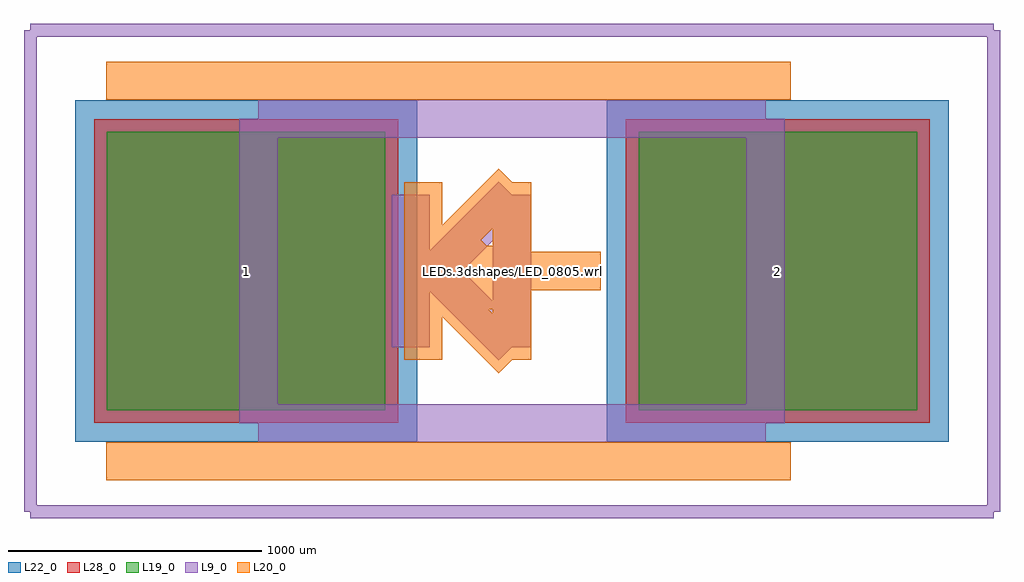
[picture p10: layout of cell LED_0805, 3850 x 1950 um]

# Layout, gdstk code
import gdstk
lib = gdstk.Library(unit=1e-6, precision=1e-09)
def R(c, l, rs):  # rectangles x0, y0, x1, y1
    for r in rs: c.add(gdstk.rectangle(r[:2], r[2:], *l))
L9_0 = (9, 0)
L19_0 = (19, 0)
L20_0 = (20, 0)
L22_0 = (22, 0)
L28_0 = (28, 0)

led_0805 = lib.new_cell('LED_0805')
R(led_0805, L19_0, [(-1598.46,-549.44,-499.58,549.44), (499.58,-549.44,1598.46,549.44)])
R(led_0805, L22_0, [(-1723.46,-674.44,-374.58,674.44), (374.58,-674.44,1723.46,674.44)])
R(led_0805, L28_0, [(-1648.46,-599.44,-449.58,599.44), (449.58,-599.44,1648.46,599.44)])
led_0805.add(gdstk.FlexPath([(-1900,950),(1900,950)], 50, ends="flush", simple_path=True, layer=9, datatype=0))  # L9_0
led_0805.add(gdstk.FlexPath([(-1900,-950),(-1900,950)], 50, ends="flush", simple_path=True, layer=9, datatype=0))  # L9_0
led_0805.add(gdstk.FlexPath([(1900,-950),(-1900,-950)], 50, ends="flush", simple_path=True, layer=9, datatype=0))  # L9_0
led_0805.add(gdstk.FlexPath([(1900,950),(1900,-950)], 50, ends="flush", simple_path=True, layer=9, datatype=0))  # L9_0
led_0805.add(gdstk.FlexPath([(0,-350),(-350,0)], 149.998, ends="flush", simple_path=True, layer=20, datatype=0))  # L20_0
led_0805.add(gdstk.FlexPath([(0,350),(0,-350)], 149.998, ends="flush", simple_path=True, layer=20, datatype=0))  # L20_0
led_0805.add(gdstk.FlexPath([(-350,0),(0,350)], 149.998, ends="flush", simple_path=True, layer=20, datatype=0))  # L20_0
led_0805.add(gdstk.FlexPath([(0,0),(350,0)], 149.998, ends="flush", simple_path=True, layer=20, datatype=0))  # L20_0
led_0805.add(gdstk.FlexPath([(-350,350),(-350,-350)], 149.998, ends="flush", simple_path=True, layer=20, datatype=0))  # L20_0
led_0805.add(gdstk.FlexPath([(-100,100),(-250,-50)], 149.998, ends="flush", simple_path=True, layer=20, datatype=0))  # L20_0
led_0805.add(gdstk.FlexPath([(-100,-150),(-100,100)], 149.998, ends="flush", simple_path=True, layer=20, datatype=0))  # L20_0
led_0805.add(gdstk.FlexPath([(-1600,750),(1100,750)], 149.998, ends="flush", simple_path=True, layer=20, datatype=0))  # L20_0
led_0805.add(gdstk.FlexPath([(-1600,-750),(1100,-750)], 149.998, ends="flush", simple_path=True, layer=20, datatype=0))  # L20_0
led_0805.add(gdstk.FlexPath([(-1000,600),(-1000,-600)], 149.998, ends="flush", simple_path=True, layer=9, datatype=0))  # L9_0
led_0805.add(gdstk.FlexPath([(-1000,-600),(1000,-600)], 149.998, ends="flush", simple_path=True, layer=9, datatype=0))  # L9_0
led_0805.add(gdstk.FlexPath([(1000,-600),(1000,600)], 149.998, ends="flush", simple_path=True, layer=9, datatype=0))  # L9_0
led_0805.add(gdstk.FlexPath([(1000,600),(-1000,600)], 149.998, ends="flush", simple_path=True, layer=9, datatype=0))  # L9_0
led_0805.add(gdstk.FlexPath([(0,300),(0,-300)], 149.998, ends="flush", simple_path=True, layer=9, datatype=0))  # L9_0
led_0805.add(gdstk.FlexPath([(0,-300),(-300,0)], 149.998, ends="flush", simple_path=True, layer=9, datatype=0))  # L9_0
led_0805.add(gdstk.FlexPath([(-300,0),(0,300)], 149.998, ends="flush", simple_path=True, layer=9, datatype=0))  # L9_0
led_0805.add(gdstk.FlexPath([(-400,300),(-400,-300)], 149.998, ends="flush", simple_path=True, layer=9, datatype=0))  # L9_0
led_0805.add(gdstk.Label('LEDs.3dshapes/LED_0805.wrl', (0,0), layer=12, texttype=0))
led_0805.add(gdstk.Label('1', (-1049.02,0), layer=28, texttype=0))
led_0805.add(gdstk.Label('2', (1049.02,0), layer=28, texttype=0))
led_0805.add(gdstk.Label('type', (0,-1750), layer=9, texttype=0))
led_0805.add(gdstk.Label('devicename', (0,1750), layer=9, texttype=0))

lib.write_gds('LED_0805.gds')
